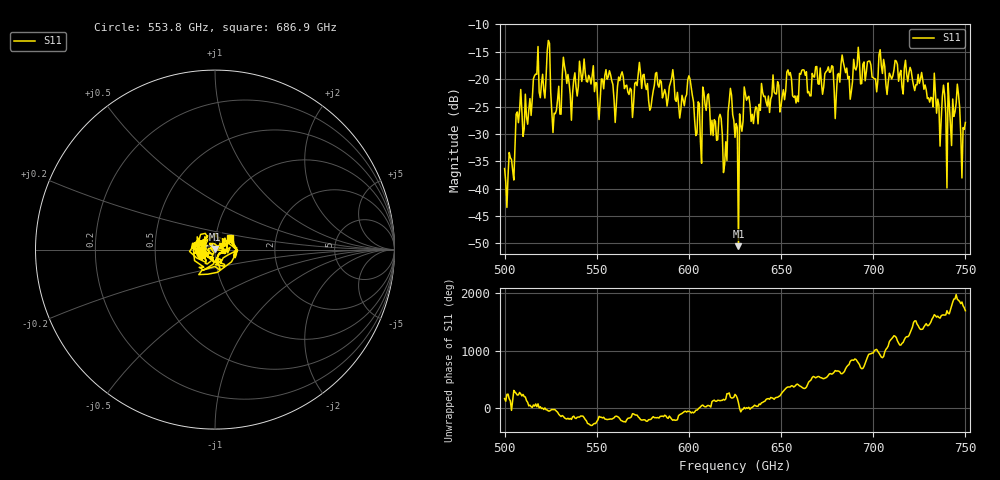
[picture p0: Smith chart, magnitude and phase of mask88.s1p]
!Created with skrf (http://scikit-rf.org).
# GHz S MA R 50.0
!freq magS11 angS11
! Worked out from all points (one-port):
!   401 points, 500 GHz to 750 GHz, reference 50 ohm
!   lowest |S11| = -50.5 dB at 626.9 GHz (marker M1), VSWR 1.01, Z = 50 + j0.299 ohm
!   |S11| at or under -10 dB: start of sweep to end of sweep
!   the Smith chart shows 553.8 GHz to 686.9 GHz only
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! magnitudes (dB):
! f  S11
! 500 GHz  -36.3
! 507.5 GHz  -27.9
! 513.1 GHz  -25.6
! 516.9 GHz  -19.1
! 520.6 GHz  -19.1
! 523.8 GHz  -12.9
! 526.9 GHz  -26.2
! 531.2 GHz  -19.4
! 562.5 GHz  -20.3
! 579.4 GHz  -25.2
! 590.6 GHz  -19.8
! 593.8 GHz  -22.4
! 600.6 GHz  -20.0
! 605.6 GHz  -24.5
! 608.8 GHz  -24.6
! 619.4 GHz  -35.6
! 622.5 GHz  -21.7
! 625 GHz  -30.6
! 626.9 GHz  -50.5
! 631.2 GHz  -23.9
! 635 GHz  -28.1
! 656.2 GHz  -23.0
! 680 GHz  -22.7
! 683.8 GHz  -16.9
! 687.5 GHz  -23.7
! 690.6 GHz  -18.3
! 718.8 GHz  -20.5
! 750 GHz  -27.9
